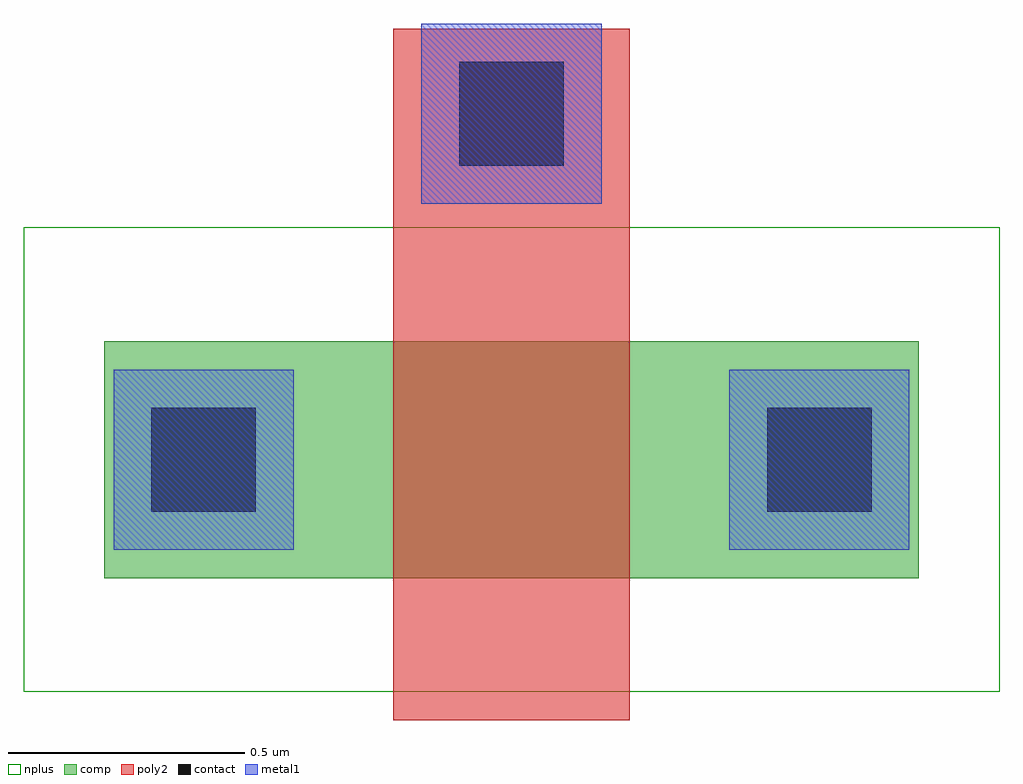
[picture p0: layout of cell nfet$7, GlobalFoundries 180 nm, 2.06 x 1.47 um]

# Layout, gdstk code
import gdstk
lib = gdstk.Library(unit=1e-6, precision=5e-09)
def R(c, l, rs):  # rectangles x0, y0, x1, y1
    for r in rs: c.add(gdstk.rectangle(r[:2], r[2:], *l))
comp = (22, 0)
poly2 = (30, 0)
nplus = (32, 0)
contact = (33, 0)
metal1 = (34, 0)

nfet_7 = lib.new_cell('nfet$7')
R(nfet_7, comp, [(-0.42,0,1.3,0.5)])
R(nfet_7, poly2, [(0.19,-0.3,0.69,1.16)])
R(nfet_7, nplus, [(-0.59,-0.24,1.47,0.74)])
R(nfet_7, contact, [(-0.32,0.14,-0.1,0.36), (0.98,0.14,1.2,0.36), (0.33,0.87,0.55,1.09)])
R(nfet_7, metal1, [(-0.4,0.06,-0.02,0.44), (0.9,0.06,1.28,0.44), (0.25,0.79,0.63,1.17)])

lib.write_gds('nfet_7.gds')
